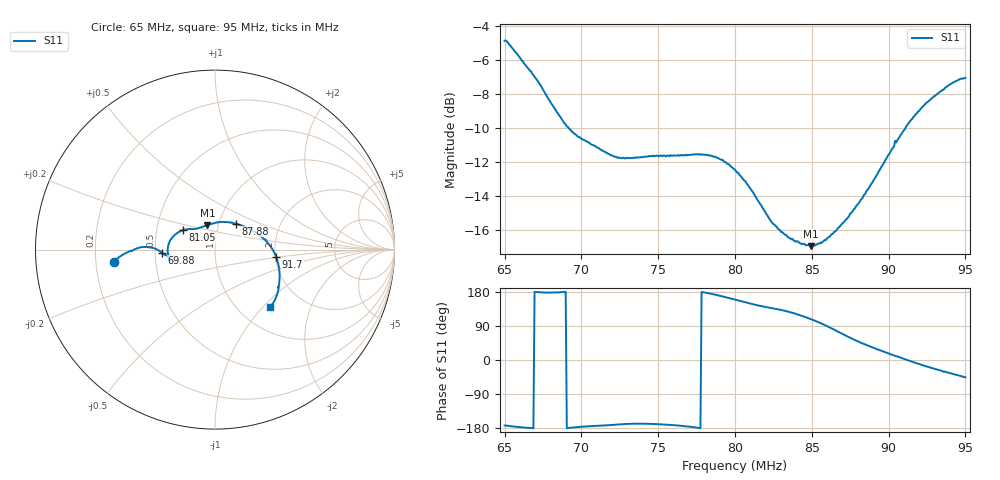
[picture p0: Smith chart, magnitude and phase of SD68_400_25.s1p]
! NanoVNA-App
! Date: 2025-08-02 16:22:02
! Start: 65MHz Stop: 95MHz Points: 401
! S-Parameter data: F S11
# Hz S RI R 50
!  Frequency  S11_Real  S11_Imag
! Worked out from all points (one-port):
!   401 points, 65 MHz to 95 MHz, reference 50 ohm
!   lowest |S11| = -17.0 dB at 84.95 MHz (marker M1), VSWR 1.33, Z = 44.3 + j12.2 ohm
!   |S11| at or under -10 dB: 69.15 MHz to 91.11 MHz (21.96 MHz wide, 27.4 % of centre)
!   S11 on the Smith chart (normalised r, x): 65 MHz: 0.28, -0.06; 69.88 MHz: 0.54, -0.02; 81.05 MHz: 0.69, +0.16; 87.88 MHz: 1.20, +0.36; 91.7 MHz: 2.02, -0.18; 95 MHz: 1.39, -1.10
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6.5e7  -0.5651 -0.0697
6.5225e7  -0.5583 -0.0612
6.605e7  -0.5029 -0.0229
6.7325e7  -0.4222 0.0104
6.875e7  -0.3332 0.00452
6.9875e7  -0.2958 -0.0182
7.25e7  -0.254 -0.0451
7.4075e7  -0.254 -0.0523
7.625e7  -0.2597 -0.0331
7.7375e7  -0.2635 -0.0112
7.8575e7  -0.2582 0.0293
8e7  -0.2226 0.0839
8.105e7  -0.1766 0.1094
8.24e7  -0.1215 0.1141
8.375e7  -0.0842 0.1227
8.495e7  -0.0425 0.1352
8.6075e7  0.00668 0.1502
8.75e7  0.0913 0.1515
8.7875e7  0.1156 0.1451
8.8925e7  0.1816 0.1201
8.975e7  0.2348 0.0905
9.0575e7  0.2869 0.0459
9.125e7  0.3233 -0.00284
9.17e7  0.3405 -0.0396
9.245e7  0.3584 -0.1079
9.335e7  0.3581 -0.1858
9.4175e7  0.3437 -0.2554
9.5e7  0.3085 -0.3178
